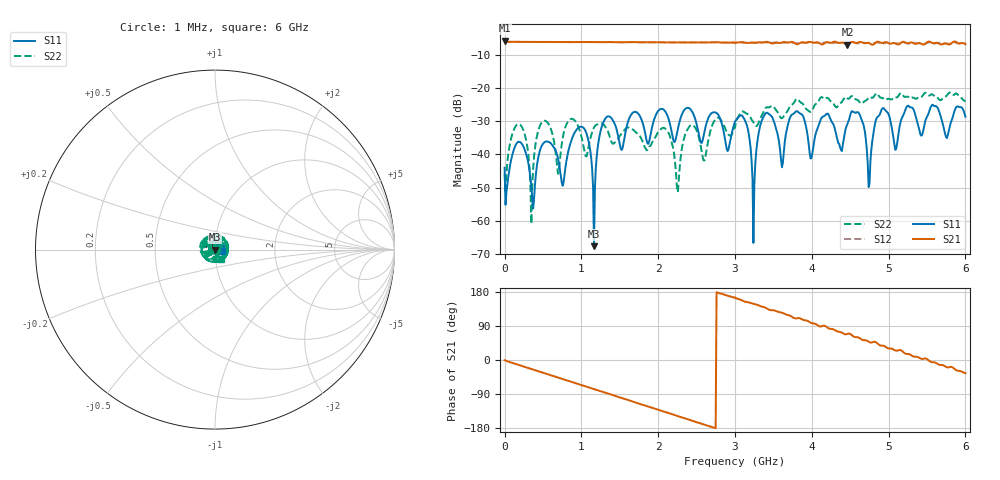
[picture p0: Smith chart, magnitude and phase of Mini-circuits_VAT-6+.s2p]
# GHZ S DB R 50
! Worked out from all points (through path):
!   501 points, 1 MHz to 6 GHz, reference 50 ohm
!   highest |S21| = -5.63 dB at 1 MHz (marker M1); lowest = -6.9 dB at 4.464 GHz (marker M2)
!   group delay of S21, straight-line fit = 182 ps
!   lowest |S11| = -67.7 dB at 1.165 GHz (marker M3), VSWR 1.00, Z = 50 + j0.0379 ohm
!   |S11| at or under -10 dB: start of sweep to end of sweep
!   |S22| runs from -60.9 to -21.3 dB; largest |S21 - S12| = 0.035
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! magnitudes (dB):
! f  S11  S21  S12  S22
! 1 MHz  -44.0  -5.6  -5.6  -45.9
! 169 MHz  -36.4  -6.0  -6.0  -30.9
! 348.9 MHz  -49.7  -6.0  -6.0  -60.9
! 492.9 MHz  -37.0  -6.0  -6.0  -30.1
! 756.9 MHz  -49.5  -6.0  -6.0  -35.1
! 1.009 GHz  -31.7  -6.0  -6.0  -35.3
! 1.165 GHz  -67.7  -6.1  -6.1  -31.9
! 1.321 GHz  -28.9  -6.1  -6.1  -32.0
! 2.005 GHz  -26.7  -6.1  -6.1  -33.1
! 2.257 GHz  -32.3  -6.1  -6.2  -51.4
! 2.413 GHz  -26.2  -6.1  -6.1  -31.4
! 3.001 GHz  -30.1  -6.3  -6.5  -32.0
! 3.156 GHz  -31.3  -6.3  -6.2  -27.7
! 3.24 GHz  -66.7  -6.3  -6.2  -30.3
! 3.408 GHz  -27.4  -6.0  -6.2  -25.8
! 3.612 GHz  -43.9  -6.2  -6.2  -29.1
! 4.008 GHz  -39.5  -6.2  -6.3  -26.5
! 4.464 GHz  -30.8  -6.9  -6.3  -23.1
! 4.632 GHz  -28.4  -6.0  -6.4  -24.5
! 4.752 GHz  -48.7  -6.4  -6.3  -22.6
! 5.004 GHz  -28.1  -6.5  -6.2  -23.2
! 6 GHz  -28.6  -6.7  -6.4  -24.0
